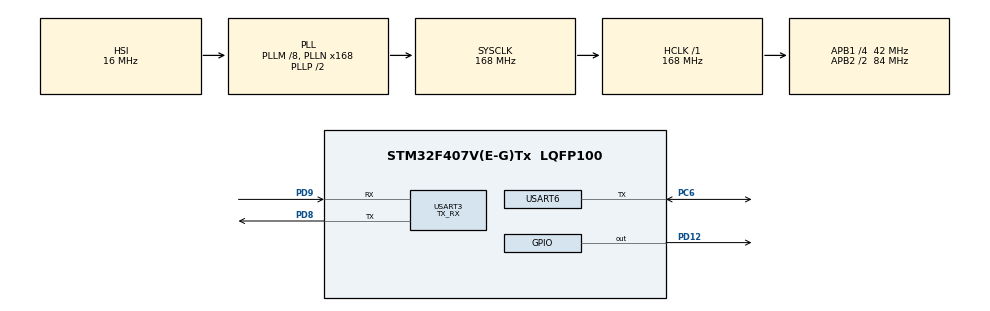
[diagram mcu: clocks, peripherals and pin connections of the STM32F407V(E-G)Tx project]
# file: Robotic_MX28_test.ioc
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Mcu.Family=STM32F4
Mcu.Name=STM32F407V(E-G)Tx
Mcu.Package=LQFP100
NVIC.PriorityGroup=NVIC_PRIORITYGROUP_4
NVIC.USART3_IRQn=true\:0\:0\:false\:false\:true\:true\:true\:true
NVIC.USART6_IRQn=true\:0\:0\:false\:false\:true\:true\:true\:true
PC6.Mode=Half_duplex(single_wire_mode)
PC6.Signal=USART6_TX
PD12.Signal=GPIO_Output
PD8.Mode=Asynchronous
PD8.Signal=USART3_TX
PD9.Mode=Asynchronous
PD9.Signal=USART3_RX
PH0-OSC_IN.Mode=HSE-External-Oscillator
PH0-OSC_IN.Signal=RCC_OSC_IN
PH1-OSC_OUT.Mode=HSE-External-Oscillator
PH1-OSC_OUT.Signal=RCC_OSC_OUT
ProjectManager.HeapSize=0x200
ProjectManager.StackSize=0x400
ProjectManager.TargetToolchain=MDK-ARM V5
RCC.48MHZClocksFreq_Value=84000000
RCC.AHBFreq_Value=168000000
RCC.APB1CLKDivider=RCC_HCLK_DIV4
RCC.APB1Freq_Value=42000000
RCC.APB1TimFreq_Value=84000000
RCC.APB2CLKDivider=RCC_HCLK_DIV2
RCC.APB2Freq_Value=84000000
RCC.APB2TimFreq_Value=168000000
RCC.CortexFreq_Value=168000000
RCC.HCLKFreq_Value=168000000
RCC.HSE_VALUE=8000000
RCC.HSI_VALUE=16000000
RCC.LSE_VALUE=32768
RCC.PLLM=8
RCC.PLLN=168
RCC.SYSCLKFreq_VALUE=168000000
RCC.SYSCLKSource=RCC_SYSCLKSOURCE_PLLCLK
RCC.VCOOutputFreq_Value=336000000
USART3.Mode=MODE_TX_RX
USART3.VirtualMode=VM_ASYNC
USART6.BaudRate=115200
USART6.Mode=MODE_TX_RX
USART6.VirtualMode=VM_ASYNC
board=custom

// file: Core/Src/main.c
/* USER CODE BEGIN Header */
/**
  ******************************************************************************
  * @file           : main.c
  * @brief          : Main program body
  ******************************************************************************
  * @attention
  *
  * Copyright (c) 2023 STMicroelectronics.
  * All rights reserved.
  *
  * This software is licensed under terms that can be found in the LICENSE file
  * in the root directory of this software component.
  * If no LICENSE file comes with this software, it is provided AS-IS.
  *
  ******************************************************************************
  */
/* USER CODE END Header */
#include "main.h"

/* USER CODE BEGIN Includes */
#include "stdlib.h"
#include "stdio.h"
#include "stdarg.h"
#include "Dynamixel_Protocol_1.h"
/* USER CODE END Includes */

/* USER CODE BEGIN PD */
#define MX28_INSTRUCTION_PING 1
#define MX28_INSTRUCTION_READ_DATA 2
#define MX28_INSTRUCTION_WRITE_DATA 3

// MX28寄�?�器?��??
#define MX28_REG_ID 0
#define MX28_REG_GOAL_POSITION 30
#define MX28_REG_PRESENT_POSITION 36
/* USER CODE END PD */

 UART_HandleTypeDef huart3;
UART_HandleTypeDef huart6;

void SystemClock_Config(void);
static void MX_GPIO_Init(void);
static void MX_USART6_UART_Init(void);
static void MX_USART3_UART_Init(void);
/* USER CODE BEGIN PFP */

void printData(char* format, ...){

  char* str = malloc( 64 * sizeof(char) );
  va_list ap;
  va_start(ap, format);
  vsprintf(str, format, ap);
  HAL_UART_Transmit(&huart3, (uint8_t *)str, strlen(str), 100);
  va_end(ap);

  free(str);
}

/* USER CODE END PFP */

/* USER CODE BEGIN 0 */

float angle;
int rawdata;

Dynamixel_SERVO Servo[2] = {
  {.ID = 0},
  {.ID = 1}
};
/* USER CODE END 0 */

int main(void)
{

  /* MCU Configuration--------------------------------------------------------*/

  /* Reset of all peripherals, Initializes the Flash interface and the Systick. */
  HAL_Init();

  /* Configure the system clock */
  SystemClock_Config();

  /* Initialize all configured peripherals */
  MX_GPIO_Init();
  MX_USART6_UART_Init();
  MX_USART3_UART_Init();
  /* USER CODE BEGIN 2 */
  printData("testing...\n");
  Dynamixel_Init_Handle(&huart6);
  Dynamixel_Servo_Init(Servo, 2);

  // Dynamixel_W_BaudRate(&Servo[0], 2000000);
  // Dynamixel_W_BaudRate(&Servo[1], 2000000);
  // Dynamixel_W_TorqueEnable(&Servo[0], 1);
  Dynamixel_W_TorqueEnable(&Servo[1], 1);
//  Dynamixel_W_PID(&Servo[0], 33, 0, 1);
  // printData("%d, %d, %d\n", Servo[0].controller.Kp, Servo[0].controller.Ki, Servo[0].controller.Kd);
  // Dynamixel_W_GoalPosition(&Servo[1], 180);
  // Dynamixel_W_GoalPosition(&Servo[0], 180);
  /* USER CODE END 2 */

  /* Infinite loop */
  /* USER CODE BEGIN WHILE */
  while (1)
  {
    // Dynamixel_R_PresentPos(&Servo[0]);
    // Dynamixel_R_PresentPos(&Servo[1]);
    // Dynamixel_R_AllPresentData(&Servo[0]);
    Dynamixel_R_AllPresentData(&Servo[1]);
    printData("%d, %.2f\n", HAL_GetTick(), Servo[1].state.Present_Position);

    // printData("%d, %.2f, %.2f, %.2f, %.2f, %d\n", HAL_GetTick(), Servo[0].state.Present_Position, Servo[0].state.Present_Speed, Servo[0].state.Present_Load, Servo[0].state.Present_voltage, Servo[0].state.Present_Temperature);

    /* USER CODE END WHILE */

  }
}

void SystemClock_Config(void)
{
  RCC_OscInitTypeDef RCC_OscInitStruct = {0};
  RCC_ClkInitTypeDef RCC_ClkInitStruct = {0};

  /** Configure the main internal regulator output voltage
  */
  __HAL_RCC_PWR_CLK_ENABLE();
  __HAL_PWR_VOLTAGESCALING_CONFIG(PWR_REGULATOR_VOLTAGE_SCALE1);

  /** Initializes the RCC Oscillators according to the specified parameters
  * in the RCC_OscInitTypeDef structure.
  */
  RCC_OscInitStruct.OscillatorType = RCC_OSCILLATORTYPE_HSI;
  RCC_OscInitStruct.HSIState = RCC_HSI_ON;
  RCC_OscInitStruct.HSICalibrationValue = RCC_HSICALIBRATION_DEFAULT;
  RCC_OscInitStruct.PLL.PLLState = RCC_PLL_ON;
  RCC_OscInitStruct.PLL.PLLSource = RCC_PLLSOURCE_HSI;
  RCC_OscInitStruct.PLL.PLLM = 8;
  RCC_OscInitStruct.PLL.PLLN = 168;
  RCC_OscInitStruct.PLL.PLLP = RCC_PLLP_DIV2;
  RCC_OscInitStruct.PLL.PLLQ = 4;
  if (HAL_RCC_OscConfig(&RCC_OscInitStruct) != HAL_OK)
  {
    Error_Handler();
  }

  /** Initializes the CPU, AHB and APB buses clocks
  */
  RCC_ClkInitStruct.ClockType = RCC_CLOCKTYPE_HCLK|RCC_CLOCKTYPE_SYSCLK
                              |RCC_CLOCKTYPE_PCLK1|RCC_CLOCKTYPE_PCLK2;
  RCC_ClkInitStruct.SYSCLKSource = RCC_SYSCLKSOURCE_PLLCLK;
  RCC_ClkInitStruct.AHBCLKDivider = RCC_SYSCLK_DIV1;
  RCC_ClkInitStruct.APB1CLKDivider = RCC_HCLK_DIV4;
  RCC_ClkInitStruct.APB2CLKDivider = RCC_HCLK_DIV2;

  if (HAL_RCC_ClockConfig(&RCC_ClkInitStruct, FLASH_LATENCY_5) != HAL_OK)
  {
    Error_Handler();
  }
}

static void MX_USART3_UART_Init(void)
{

  huart3.Instance = USART3;
  huart3.Init.BaudRate = 115200;
  huart3.Init.WordLength = UART_WORDLENGTH_8B;
  huart3.Init.StopBits = UART_STOPBITS_1;
  huart3.Init.Parity = UART_PARITY_NONE;
  huart3.Init.Mode = UART_MODE_TX_RX;
  huart3.Init.HwFlowCtl = UART_HWCONTROL_NONE;
  huart3.Init.OverSampling = UART_OVERSAMPLING_16;
  if (HAL_UART_Init(&huart3) != HAL_OK)
  {
    Error_Handler();
  }

}

static void MX_USART6_UART_Init(void)
{

  huart6.Instance = USART6;
  huart6.Init.BaudRate = 2000000;
  huart6.Init.WordLength = UART_WORDLENGTH_8B;
  huart6.Init.StopBits = UART_STOPBITS_1;
  huart6.Init.Parity = UART_PARITY_NONE;
  huart6.Init.Mode = UART_MODE_TX_RX;
  huart6.Init.HwFlowCtl = UART_HWCONTROL_NONE;
  huart6.Init.OverSampling = UART_OVERSAMPLING_16;
  if (HAL_HalfDuplex_Init(&huart6) != HAL_OK)
  {
    Error_Handler();
  }

}

static void MX_GPIO_Init(void)
{
  GPIO_InitTypeDef GPIO_InitStruct = {0};

  /* GPIO Ports Clock Enable */
  __HAL_RCC_GPIOH_CLK_ENABLE();
  __HAL_RCC_GPIOD_CLK_ENABLE();
  __HAL_RCC_GPIOC_CLK_ENABLE();

  /*Configure GPIO pin Output Level */
  HAL_GPIO_WritePin(GPIOD, GPIO_PIN_12, GPIO_PIN_RESET);

  /*Configure GPIO pin : PD12 */
  GPIO_InitStruct.Pin = GPIO_PIN_12;
  GPIO_InitStruct.Mode = GPIO_MODE_OUTPUT_PP;
  GPIO_InitStruct.Pull = GPIO_NOPULL;
  GPIO_InitStruct.Speed = GPIO_SPEED_FREQ_LOW;
  HAL_GPIO_Init(GPIOD, &GPIO_InitStruct);

}

/* USER CODE BEGIN 4 */
void HAL_UART_RxCpltCallback(UART_HandleTypeDef *huart)
{
  // ?��?�裡??��?�接?��?��??�數???
  // if (huart->Instance == USART6)
  // {
  //   // ?��?��?��?��??�數??�是?��?��MX28??��?��??
  //   for (uint8_t i = 0; i<=6; i++){
  //     printData("%x", rxData[i]);
  //   }
  //   printData("\n");
  // }

  // HAL_UART_Receive_IT(&huart6, rxData, sizeof(rxData)); // ??��?��?��?次接?��
}
/* USER CODE END 4 */

void Error_Handler(void)
{
  __disable_irq();
  while (1)
  {
  }
}
